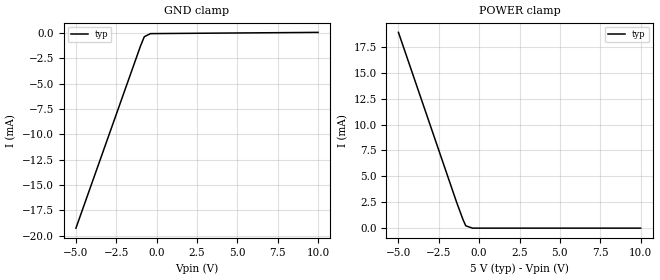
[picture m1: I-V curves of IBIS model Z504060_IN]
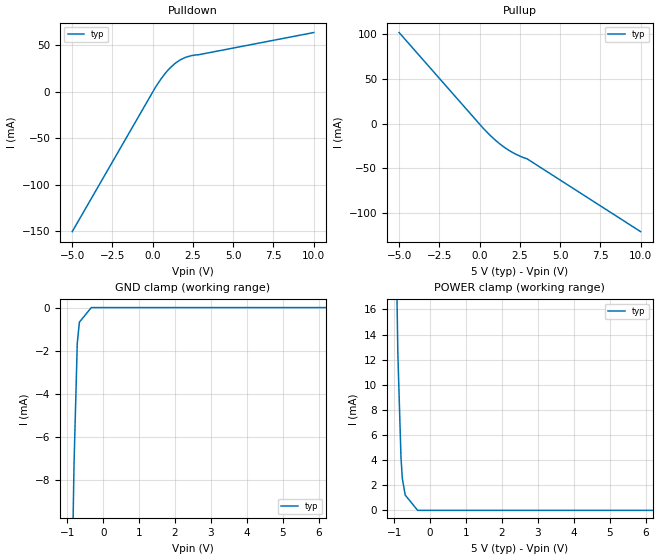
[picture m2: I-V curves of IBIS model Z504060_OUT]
| YOU ARE ONLY AUTHORIZED TO USE THIS SOFTWARE
| ACCORDING TO LICENSOR'S LICENSE RESTRICTIONS.
[IBIS Ver] 3.1
[File Name] mc54hc139aj.ibs
[File Rev] 2.0
[Source] Measured and created by ICX Technology
[Date] Friday 7/14/00 9:08:06 AM
[Copyright]
| (C) COPYRIGHT 1993-2000
| MENTOR GRAPHICS CORPORATION
| ICX STANDARD LIBRARY, ICX PROJECT MODELING,
| ICX CUSTOM MODELING, ICX VENDOR MODEL
| ALL RIGHTS RESERVED.
| THE FOLLOWING ARE TRADEMARKS OR SERVICE MARKS OF
| MENTOR GRAPHICS CORPORATION:ICX (R), ICX STANDARD
| LIBRARY(R), ICX PROJECT MODELING(R), ICX CUSTOM
| MODELING(R), qualityIBIS(TM), MODELVIEWER(TM),
| AND MODELEDITOR(TM)
| ALL COPIES OF SOFTWARE, INCLUDING BUT NOT LIMITED TO
| ANY MODIFICATIONS, ENHANCEMENTS OR DERIVATIVE WORKS,
| MUST CONTAIN ALL MENTOR GRAPHICS CORPORATION'S
| NOTICES AND LEGENDS, INCLUDING THOSE EMBEDDED IN
| SOFTWARE AND THOSE AFFIXED TO SOFTWARE MEDIUM
| AND CONTAINER, AS RECEIVED FROM MENTOR GRAPHICS
| CORPORATION.
|  ZAP Model Builder 2.7
[Component] MC54HC139AJ
[Manufacturer] OnSemiconductor
[Package]
| variable   typ   min   max
R_pkg  .212ohms NA NA
L_pkg  4.758nH NA NA
C_pkg  1.944pF NA NA
[Pin] signal_name  model_name  R_pin  L_pin C_pin
1 _G Z504060_IN .224 7.258n 2.683p
2 A Z504060_IN .216 5.258n 2.19p
3 B Z504060_IN .208 3.758n 1.697p
4 _Y0 Z504060_OUT .2 2.758n 1.204p
5 _Y1 Z504060_OUT .2 2.758n 1.204p
6 _Y2 Z504060_OUT .208 3.758n 1.697p
7 _Y3 Z504060_OUT .216 5.258n 2.19p
8 GND GND .224 7.258n 2.683p
9 _Y3 Z504060_OUT .224 7.258n 2.683p
10 _Y2 Z504060_OUT .216 5.258n 2.19p
11 _Y1 Z504060_OUT .208 3.758n 1.697p
12 _Y0 Z504060_OUT .2 2.758n 1.204p
13 B Z504060_IN .2 2.758n 1.204p
14 A Z504060_IN .208 3.758n 1.697p
15 _G Z504060_IN .216 5.258n 2.19p
16 VCC POWER .224 7.258n 2.683p
| Models and submodels in the file (2): Z504060_IN (Input), Z504060_OUT (Output)
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| (C) COPYRIGHT 1993-2000
| MENTOR GRAPHICS CORPORATION
| ICX STANDARD LIBRARY, ICX PROJECT MODELING,
| ICX CUSTOM MODELING, ICX VENDOR MODEL
| ALL RIGHTS RESERVED.
| THE FOLLOWING ARE TRADEMARKS OR SERVICE MARKS OF
| MENTOR GRAPHICS CORPORATION:ICX (R), ICX STANDARD
| LIBRARY(R), ICX PROJECT MODELING(R), ICX CUSTOM
| MODELING(R), qualityIBIS(TM), MODELVIEWER(TM),
| AND MODELEDITOR(TM)
| ALL COPIES OF SOFTWARE, INCLUDING BUT NOT LIMITED TO
| ANY MODIFICATIONS, ENHANCEMENTS OR DERIVATIVE WORKS,
| MUST CONTAIN ALL MENTOR GRAPHICS CORPORATION'S
| NOTICES AND LEGENDS, INCLUDING THOSE EMBEDDED IN
| SOFTWARE AND THOSE AFFIXED TO SOFTWARE MEDIUM
| AND CONTAINER, AS RECEIVED FROM MENTOR GRAPHICS
| CORPORATION.
| Model Application Version 1.89 2/18/99.
[Model] Z504060_IN
Model_type Input
Vinl = 1.000V
Vinh = 3.500V
C_comp 4.000pF NA NA
| variable typ   min   max
[Voltage Range] 5.000V NA NA
[GND Clamp Reference] 0.000V NA NA
[POWER Clamp Reference] 5.000V NA NA
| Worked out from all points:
|   GND clamp passes 1 mA (typ) near -0.93 V on its own axis
[GND Clamp]
-5V       -19.27mA   NA         NA
-995.8mV  -1.251mA   NA         NA
-766.5mV  -354.7uA   NA         NA
-383.2mV  -47.03uA   NA         NA
10V       76.3uA     NA         NA
[POWER Clamp]
-5V       18.9mA     NA         NA
-1.406V   2.542mA    NA         NA
-1.002V   830.9uA    NA         NA
-830mV    228.5uA    NA         NA
-415mV    0A         NA         NA
10V       0A         NA         NA
| (C) COPYRIGHT 1993-2000
| MENTOR GRAPHICS CORPORATION
| ICX STANDARD LIBRARY, ICX PROJECT MODELING,
| ICX CUSTOM MODELING, ICX VENDOR MODEL
| ALL RIGHTS RESERVED.
| THE FOLLOWING ARE TRADEMARKS OR SERVICE MARKS OF
| MENTOR GRAPHICS CORPORATION:ICX (R), ICX STANDARD
| LIBRARY(R), ICX PROJECT MODELING(R), ICX CUSTOM
| MODELING(R), qualityIBIS(TM), MODELVIEWER(TM),
| AND MODELEDITOR(TM)
| ALL COPIES OF SOFTWARE, INCLUDING BUT NOT LIMITED TO
| ANY MODIFICATIONS, ENHANCEMENTS OR DERIVATIVE WORKS,
| MUST CONTAIN ALL MENTOR GRAPHICS CORPORATION'S
| NOTICES AND LEGENDS, INCLUDING THOSE EMBEDDED IN
| SOFTWARE AND THOSE AFFIXED TO SOFTWARE MEDIUM
| AND CONTAINER, AS RECEIVED FROM MENTOR GRAPHICS
| CORPORATION.
| Model Application Version 1.89 2/18/99.
[Model] Z504060_OUT
Model_type Output
Vref=0.000V
Rref=500.0Mohms
Cref=50.00pF
Vmeas=2.500V
C_comp 8.000pF NA NA
| variable typ   min   max
[Voltage Range] 5.000V NA NA
[POWER Clamp Reference] 5.000V NA NA
[Pullup Reference] 5.000V NA NA
[Pulldown Reference] 0.000V NA NA
[GND Clamp Reference] 0.000V NA NA
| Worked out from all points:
|   slope of the pulldown table from 0 to 0.75 V, typ, clamps not added: 38.6 ohm
|   slope of the pullup table from 0 to 0.75 V, typ, clamps not added: 53.2 ohm
|   GND clamp passes 1 mA (typ) near -0.68 V on its own axis
[GND Clamp]
-5V       -414.4mA   NA         NA
-813mV    -7.223mA   NA         NA
-723.4mV  -1.652mA   NA         NA
-664mV    -674.9uA   NA         NA
-332mV    0A         NA         NA
10V       0A         NA         NA
[Pulldown]
-5V       -150.2mA   NA         NA
165.9mV   4.873mA    NA         NA
747.5mV   19.29mA    NA         NA
1.392V    30.66mA    NA         NA
2.003V    36.86mA    NA         NA
2.422V    39.08mA    NA         NA
10V       63.79mA    NA         NA
[Pullup]
-5V       101.8mA    NA         NA
236mV     -5.474mA   NA         NA
1.199V    -21.89mA   NA         NA
2.1V      -32.86mA   NA         NA
2.931V    -39.19mA   NA         NA
10V       -120.8mA   NA         NA
[POWER Clamp]
-5V       1.001A     NA         NA
-1.015V   33.32mA    NA         NA
-898mV    12.42mA    NA         NA
-811mV    4.191mA    NA         NA
-774mV    2.539mA    NA         NA
-694mV    1.218mA    NA         NA
-347mV    0A         NA         NA
10V       0A         NA         NA
[Ramp]
| variable typ min max
dV/dt_r 2.737/872.5p NA NA
dV/dt_f 2.737/580.5p NA NA
R_load = 500.0Ohms
